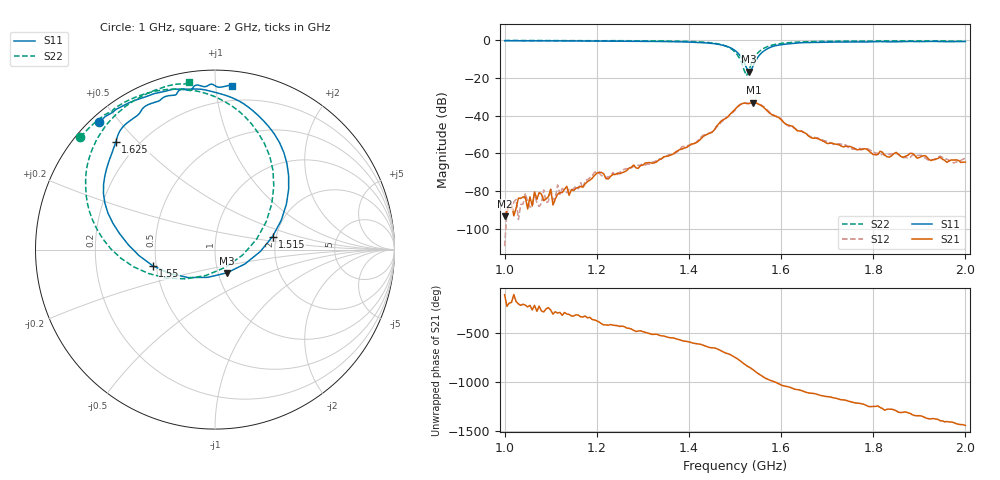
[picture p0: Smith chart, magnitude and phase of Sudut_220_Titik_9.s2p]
# Hz S RI R 50
! CMT, C1220, 16058040, 17.2.0/1
! Date: 14/08/2018 11:57:45
! Data: Format (Calibration Info)
! Freq  S11: Re/Im (F2)  S21: Re/Im (F2)  S12: Re/Im (F2)  S22: Re/Im (F2)
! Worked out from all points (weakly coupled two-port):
!   201 points, 1 GHz to 2 GHz, reference 50 ohm
!   highest |S21| = -33.12 dB at 1.54 GHz (marker M1); lowest = -93.5 dB at 1 GHz (marker M2)
!   lowest |S11| = -16.7 dB at 1.53 GHz (marker M3), VSWR 1.34, Z = 55.1 - j14.6 ohm
!   |S11| at or under -10 dB: 1.516 GHz to 1.547 GHz (31.47 MHz wide, 2.06 % of centre)
!   |S22| runs from -18.8 to -0.2 dB; largest |S21 - S12| = 0.00096
!   S11 on the Smith chart (normalised r, x): 1 GHz: 0.02, +0.44; 1.515 GHz: 1.91, +0.31; 1.55 GHz: 0.48, -0.10; 1.625 GHz: 0.12, +0.43; 2 GHz: 0.10, +1.10
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1e9  -0.6447 0.7123  -8.78e-06 -1.92e-05  -2.16e-06 2.68e-06  -0.7501 0.627
1.11e9  -0.5419 0.7861  1.85e-05 5.83e-05  1.06e-05 6.44e-05  -0.6679 0.7086
1.115e9  -0.5345 0.79  4.32e-05 6.96e-05  1.09e-05 0.000144  -0.6637 0.7121
1.145e9  -0.4971 0.8092  9.58e-05 5.3e-05  7.74e-05 6.75e-05  -0.6371 0.734
1.165e9  -0.4792 0.818  0.000123 4.56e-05  0.000153 6.53e-05  -0.6176 0.749
1.17e9  -0.4719 0.821  0.00012 4.11e-05  0.00011 3.63e-05  -0.6122 0.7524
1.195e9  -0.4338 0.8358  0.000252 -5.19e-05  0.000305 -8.2e-05  -0.5828 0.7653
1.24e9  -0.3717 0.8565  0.000104 -0.000253  9.78e-05 -0.000232  -0.5444 0.797
1.335e9  -0.2145 0.8939  -0.000652 -0.000154  -0.000691 -0.000124  -0.3956 0.8661
1.45e9  0.1825 0.7965  0.00152 0.00323  0.00179 0.00317  0.027 0.8389
1.5e9  0.4104 0.3362  0.0124 -0.0076  0.0117 -0.00721  0.3276 0.3521
1.515e9  0.3206 0.0727  0.00278 -0.0203  0.00327 -0.0204  0.231 0.057
1.525e9  0.1662 -0.0804  -0.00964 -0.0185  -0.00969 -0.0187  0.0579 -0.0987
1.53e9  0.0664 -0.1295  -0.0136 -0.0157  -0.0137 -0.0158  -0.0501 -0.1442
1.54e9  -0.1491 -0.1558  -0.021 -0.00682  -0.0208 -0.0068  -0.2723 -0.1584
1.55e9  -0.3471 -0.0899  -0.0193 0.00615  -0.0195 0.00544  -0.4547 -0.0953
1.58e9  -0.6136 0.2594  0.000408 0.0105  0.000904 0.0109  -0.7009 0.2165
1.625e9  -0.5526 0.599  0.0051 0.00101  0.0048 0.00107  -0.6972 0.5223
1.67e9  -0.4406 0.7414  0.00188 -0.00163  0.002 -0.00178  -0.6204 0.6739
1.835e9  -0.1456 0.8869  -0.000737 0.000287  -0.000859 0.000362  -0.37 0.8735
1.975e9  0.0569 0.9098  0.000615 0.000235  0.000526 0.000158  -0.1739 0.922
2e9  0.0937 0.9121  0.000577 -8.02e-05  0.000733 -9.4e-05  -0.1466 0.9311
